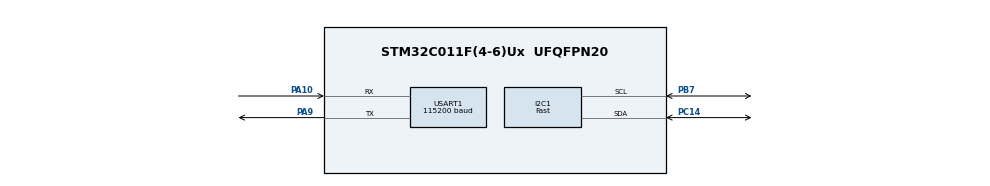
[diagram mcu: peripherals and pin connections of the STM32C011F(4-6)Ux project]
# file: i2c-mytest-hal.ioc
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I2C1.I2C_Speed_Mode=I2C_Fast
I2C1.Timing=0x00100413
Mcu.Family=STM32C0
Mcu.Name=STM32C011F(4-6)Ux
Mcu.Package=UFQFPN20
PA10\ [PA12].GPIO_FMPA10=SYSCFG_FASTMODEPLUS_PA10
PA10\ [PA12].GPIO_PuPd=GPIO_PULLUP
PA10\ [PA12].GPIO_Speed=GPIO_SPEED_FREQ_HIGH
PA10\ [PA12].Mode=Asynchronous
PA10\ [PA12].Signal=USART1_RX
PA9\ [PA11].GPIO_FMPA9=SYSCFG_FASTMODEPLUS_PA9
PA9\ [PA11].GPIO_PuPd=GPIO_PULLUP
PA9\ [PA11].GPIO_Speed=GPIO_SPEED_FREQ_HIGH
PA9\ [PA11].Mode=Asynchronous
PA9\ [PA11].Signal=USART1_TX
PB7.GPIO_Pu=GPIO_PULLUP
PB7.Mode=I2C
PB7.Signal=I2C1_SCL
PC14-OSCX_IN\ (PC14).GPIO_Pu=GPIO_PULLUP
PC14-OSCX_IN\ (PC14).Mode=I2C
PC14-OSCX_IN\ (PC14).Signal=I2C1_SDA
ProjectManager.HeapSize=0x200
ProjectManager.StackSize=0x400
ProjectManager.TargetToolchain=MDK-ARM V5.32
RCC.ADCFreq_Value=12000000
RCC.AHBFreq_Value=12000000
RCC.CortexFreq_Value=12000000
RCC.EXTERNAL_CLOCK_VALUE=12288000
RCC.HCLKFreq_Value=12000000
RCC.HSE_VALUE=8000000
RCC.HSI_VALUE=48000000
RCC.LSE_VALUE=32768
RCC.SYSCLKFreq_VALUE=12000000
USART1.BaudRate=115200
USART1.VirtualMode-Asynchronous=VM_ASYNC
VP_SYS_VS_PINREMAP.Mode=PINREMAP
VP_SYS_VS_PINREMAP_10_12.Mode=PINREMAP_10_12
board=custom

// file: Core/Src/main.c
/* USER CODE BEGIN Header */
/**
  ******************************************************************************
  * @file           : main.c
  * @brief          : Main program body
  ******************************************************************************
  * @attention
  *
  * Copyright (c) 2024 STMicroelectronics.
  * All rights reserved.
  *
  * This software is licensed under terms that can be found in the LICENSE file
  * in the root directory of this software component.
  * If no LICENSE file comes with this software, it is provided AS-IS.
  *
  ******************************************************************************
  */
/* USER CODE END Header */
#include "main.h"
#include "i2c.h"
#include "usart.h"
#include "gpio.h"

void SystemClock_Config(void);

/* USER CODE BEGIN 0 */
void delay_nop(uint32_t nCount)
{
   for(; nCount != 0; nCount--)
   {
      __NOP();
   }
}

void iputs1(char *msg)
{
   while(*msg)
   Send_Data_To_UART1(*msg++);
}

void iputbytes1(uint8_t *msg, uint32_t ilen)
{
   while(ilen--)
   Send_Data_To_UART1(*msg++);
}

void Send_Data_To_UART1 (uint8_t c)
{
   USART1->TDR = c;
   while( (USART1-> ISR & (1<<7) ) ==0 );
}

uint8_t i2c_writereg(uint16_t idevaddr, uint8_t reg,uint8_t data)
{
   if((HAL_I2C_Mem_Write(&hi2c1,idevaddr,reg,I2C_MEMADD_SIZE_8BIT,&data,1,1000)) == HAL_OK)
   {
      return 0;
   }
   else
   {
      return 1;
   }
}

uint8_t i2c_readreg(uint16_t idevaddr,uint8_t reg)
{
   uint8_t res;
   HAL_I2C_Mem_Read(&hi2c1,idevaddr,reg,I2C_MEMADD_SIZE_8BIT,&res,1,1000);
   return res;
}

/* USER CODE END 0 */

int main(void)
{

  /* MCU Configuration--------------------------------------------------------*/

  /* Reset of all peripherals, Initializes the Flash interface and the Systick. */
  HAL_Init();

  /* Configure the system clock */
  SystemClock_Config();

  /* Initialize all configured peripherals */
  MX_GPIO_Init();
  MX_I2C1_Init();
  MX_USART1_UART_Init();
  /* USER CODE BEGIN 2 */

iputs1("start...");

  /* USER CODE END 2 */

  /* Infinite loop */
  while (1)
  {

    /* USER CODE BEGIN 3 */
//iputs1("run\r\n");

uint8_t itemp=0;
uint32_t idelay=50000;

i2c_writereg( 0xA0,0x03,6);
delay_nop(idelay);
itemp=i2c_readreg( 0xA0,0x03);
Send_Data_To_UART1(itemp);

i2c_writereg( 0xA0,0x03,8);
delay_nop(idelay);
itemp=i2c_readreg( 0xA0,0x03);
Send_Data_To_UART1(itemp);

LL_mDelay(2000);

  }
  /* USER CODE END 3 */
}

void SystemClock_Config(void)
{

  /* HSI configuration and activation */
  LL_RCC_HSI_Enable();
  while(LL_RCC_HSI_IsReady() != 1)
  {
  }

  LL_RCC_HSI_SetCalibTrimming(64);
  LL_RCC_SetHSIDiv(LL_RCC_HSI_DIV_4);
  /* Set AHB prescaler*/
  LL_RCC_SetAHBPrescaler(LL_RCC_HCLK_DIV_1);

  /* Sysclk activation on the HSI */
  LL_RCC_SetSysClkSource(LL_RCC_SYS_CLKSOURCE_HSI);
  while(LL_RCC_GetSysClkSource() != LL_RCC_SYS_CLKSOURCE_STATUS_HSI)
  {
  }

  /* Set APB1 prescaler*/
  LL_RCC_SetAPB1Prescaler(LL_RCC_APB1_DIV_1);
  /* Update CMSIS variable (which can be updated also through SystemCoreClockUpdate function) */
  LL_SetSystemCoreClock(12000000);

   /* Update the time base */
  if (HAL_InitTick (TICK_INT_PRIORITY) != HAL_OK)
  {
    Error_Handler();
  }
}

void Error_Handler(void)
{
  __disable_irq();
  while (1)
  {
  }
}
